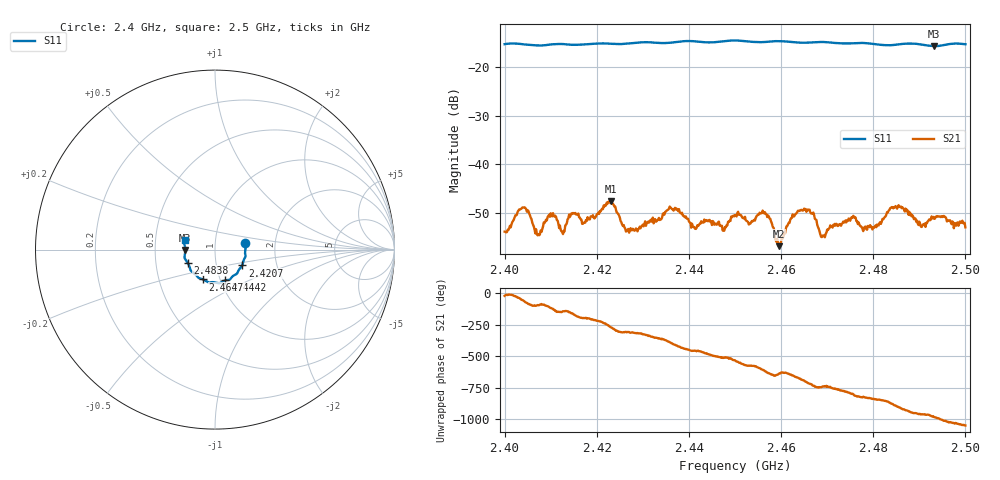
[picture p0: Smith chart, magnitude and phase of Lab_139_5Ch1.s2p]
# Hz S RI R 50
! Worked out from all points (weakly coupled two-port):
!   601 points, 2.4 GHz to 2.5 GHz, reference 50 ohm
!   highest |S21| = -47.63 dB at 2.4232 GHz (marker M1); lowest = -56.9 dB at 2.4595 GHz (marker M2)
!   lowest |S11| = -15.6 dB at 2.4932 GHz (marker M3), VSWR 1.40, Z = 35.8 - j0.174 ohm
!   |S11| at or under -10 dB: start of sweep to end of sweep
!   S12 and S22 are empty: the file has one direction only
!   S11 on the Smith chart (normalised r, x): 2.4 GHz: 1.40, +0.11; 2.4207 GHz: 1.33, -0.24; 2.4442 GHz: 1.05, -0.37; 2.4647 GHz: 0.83, -0.29; 2.4838 GHz: 0.73, -0.11; 2.5 GHz: 0.71, +0.08
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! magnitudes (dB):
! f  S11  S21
! 2.4 GHz  -15.2  -53.9
! 2.404 GHz  -15.2  -48.9
! 2.4072 GHz  -15.5  -54.7
! 2.41 GHz  -15.3  -50.1
! 2.4125 GHz  -15.2  -54.0
! 2.4167 GHz  -15.3  -51.4
! 2.4207 GHz  -15.1  -49.7
! 2.4232 GHz  -15.1  -47.6
! 2.4267 GHz  -15.1  -53.6
! 2.4333 GHz  -15.0  -51.4
! 2.436 GHz  -14.9  -48.9
! 2.4442 GHz  -14.9  -51.8
! 2.45 GHz  -14.5  -50.5
! 2.4563 GHz  -14.8  -50.1
! 2.4595 GHz  -14.6  -56.9
! 2.4647 GHz  -14.9  -49.6
! 2.4667 GHz  -14.9  -50.1
! 2.469 GHz  -14.8  -54.7
! 2.4833 GHz  -15.4  -49.6
! 2.4838 GHz  -15.4  -49.0
! 2.4932 GHz  -15.6  -51.2
! 2.5 GHz  -15.2  -53.0
